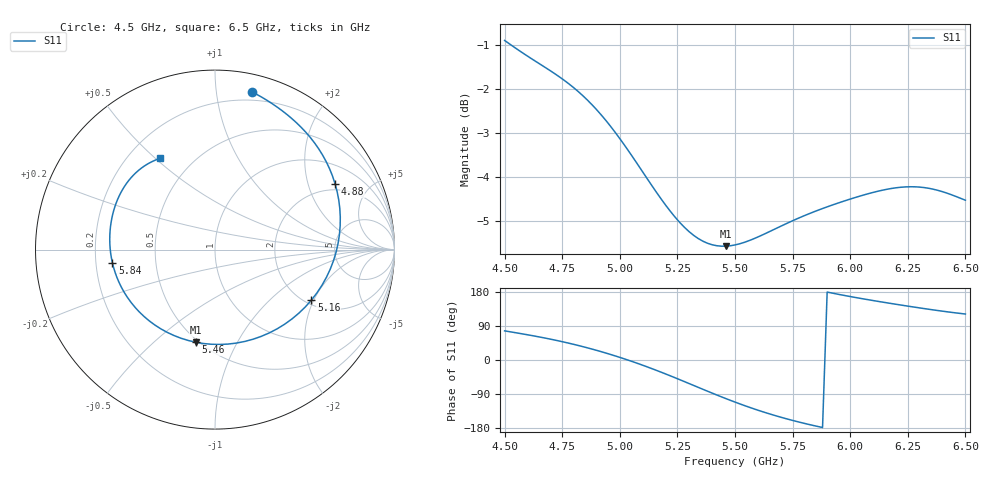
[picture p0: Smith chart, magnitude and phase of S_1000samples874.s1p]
! TOUCHSTONE file generated by CST MICROWAVE STUDIO
! Date and time: Sat Oct 29 16:10:12 2022
! Project name: L.cst
! Parameters = {Di=1.27; Epsilon_r=1.56; InnerDiameter=1.27; Length=2; Lf=10; Lg=60; OuterConductorThickness=0.2921; OuterDiameter=3.6; Wf=3; Wp=41.2; de=1.5; df=6.8; g=0.8; gx=4.70207; gy=1.52211; h=2.34; hf=1.524; px=14.0141; py=10.4289; w=9.7; wx=9.31204; wy=8.9068}
! Header version: 2018
! Port assignment regex: !\s*Touchstone port\s*([0-9]+)\s*=\s*(CST MWS port|CST DS port)\s*([0-9]+|Zmin|Zmax)\s*\(\"(.*)\"\)(\s*mode\s*([0-9]+))?.*
! Touchstone port assignment:
! Touchstone port 1 = CST MWS port 1 ("")
# GHz S DB R 50
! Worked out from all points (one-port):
!   101 points, 4.5 GHz to 6.5 GHz, reference 50 ohm
!   lowest |S11| = -5.6 dB at 5.46 GHz (marker M1), VSWR 3.23, Z = 24.2 - j34.6 ohm
!   |S11| at or under -10 dB: nowhere
!   S11 on the Smith chart (normalised r, x): 4.5 GHz: 0.13, +1.25; 4.88 GHz: 1.72, +3.01; 5.16 GHz: 2.16, -1.92; 5.46 GHz: 0.48, -0.69; 5.84 GHz: 0.27, -0.06; 6.5 GHz: 0.33, +0.52
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4.5  -0.89 76.9
4.64  -1.38 62.1
4.7  -1.58 54.9
4.76  -1.80 47.0
4.82  -2.05 38.3
4.88  -2.35 28.7
4.94  -2.71 18.3
5  -3.12 6.9
5.08  -3.72 -9.6
5.16  -4.34 -27.6
5.22  -4.77 -42.0
5.26  -5.02 -51.9
5.32  -5.31 -67.0
5.36  -5.45 -77.1
5.4  -5.53 -87.1
5.46  -5.56 -101.7
5.5  -5.53 -111.1
5.58  -5.40 -128.5
5.64  -5.25 -140.3
5.7  -5.10 -151.2
5.76  -4.96 -161.0
5.84  -4.78 -172.8
5.92  -4.63 176.8
6  -4.49 167.5
6.12  -4.31 154.8
6.26  -4.21 141.3
6.38  -4.29 130.6
6.5  -4.52 121.3
